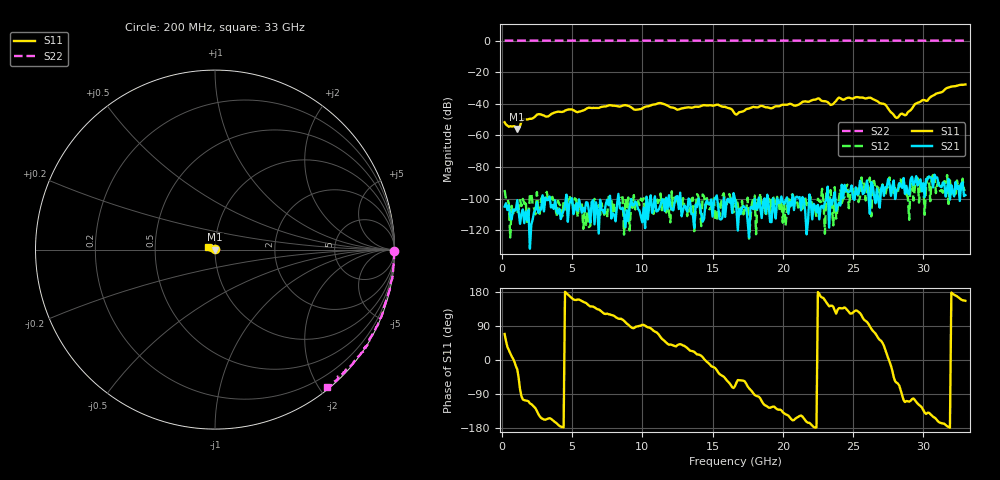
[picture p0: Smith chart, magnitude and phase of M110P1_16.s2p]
# GHZ S RI R 50
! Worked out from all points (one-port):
!   329 points, 200 MHz to 33 GHz, reference 50 ohm
!   lowest |S11| = -55.8 dB at 1.1 GHz (marker M1), VSWR 1.00, Z = 50.1 - j0.0671 ohm
!   |S11| at or under -10 dB: start of sweep to end of sweep
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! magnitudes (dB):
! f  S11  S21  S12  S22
! 200 MHz  -51.7  -105.0  -94.4  0.0
! 1.1 GHz  -55.8  -100.9  -108.8  0.0
! 1.5 GHz  -49.8  -106.7  -100.1  0.0
! 2.6 GHz  -46.5  -109.0  -107.3  0.0
! 5.7 GHz  -44.5  -108.8  -103.6  0.0
! 7.7 GHz  -40.8  -98.1  -98.9  0.0
! 9.6 GHz  -43.7  -102.9  -103.0  0.0
! 11.2 GHz  -39.5  -106.3  -101.1  0.0
! 12.5 GHz  -43.7  -98.3  -101.7  0.0
! 15.4 GHz  -40.6  -104.7  -102.6  0.0
! 16.6 GHz  -46.4  -100.2  -105.0  0.0
! 17.9 GHz  -41.9  -106.6  -99.0  0.0
! 20.9 GHz  -41.2  -99.4  -102.3  0.0
! 22.1 GHz  -37.6  -113.0  -105.8  0.0
! 23.4 GHz  -40.7  -100.3  -94.5  0.0
! 24 GHz  -36.1  -102.6  -99.9  0.0
! 26.2 GHz  -36.1  -109.5  -86.6  0.0
! 27.6 GHz  -44.3  -90.6  -86.5  0.0
! 28.1 GHz  -48.9  -94.5  -96.1  -0.1
! 28.7 GHz  -47.2  -96.9  -95.5  -0.1
! 29.9 GHz  -37.9  -95.3  -90.0  -0.1
! 33 GHz  -27.8  -97.7  -94.3  -0.1
